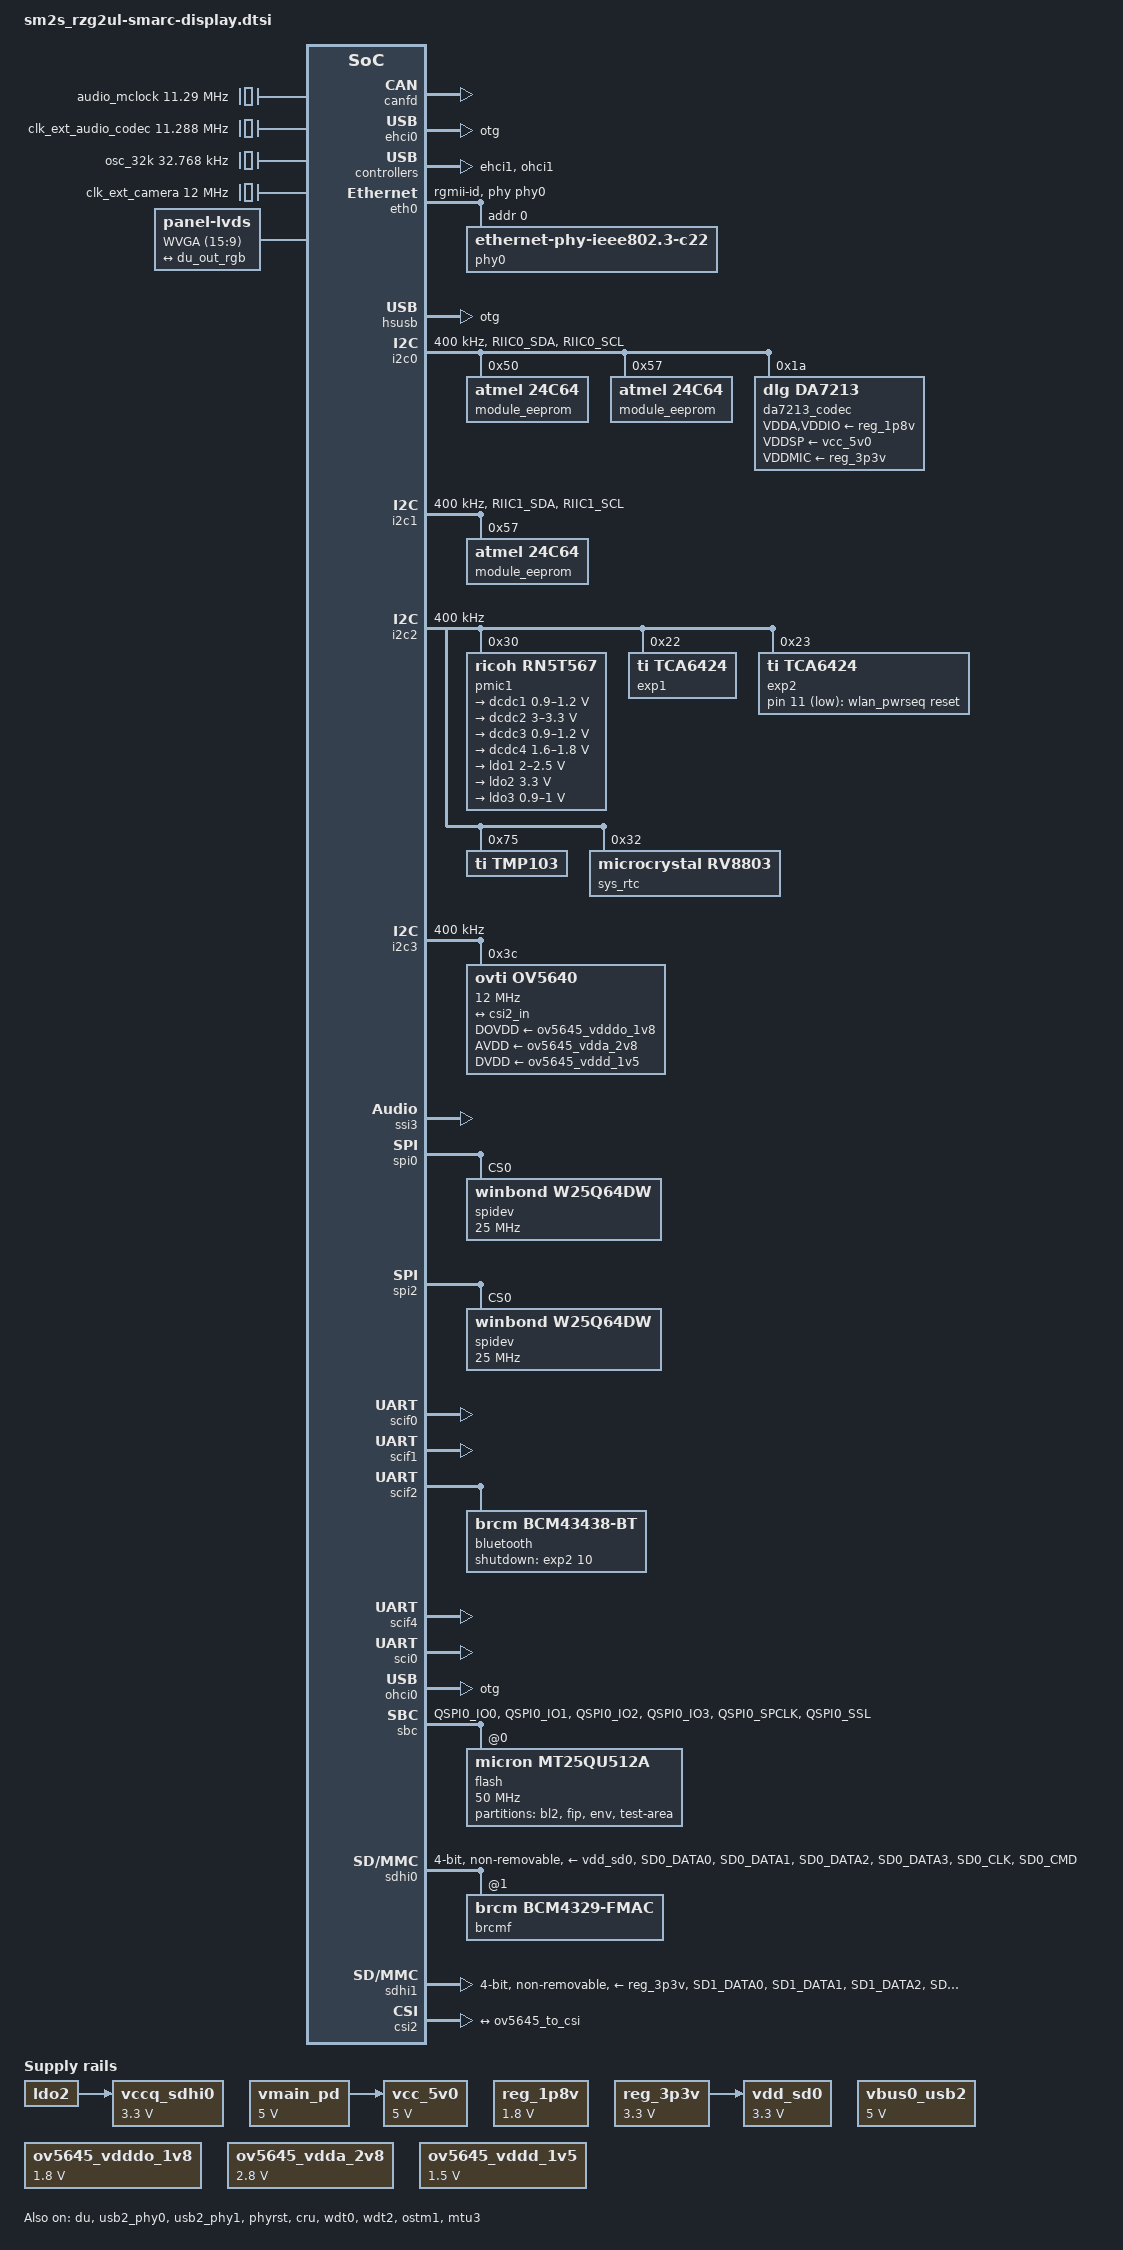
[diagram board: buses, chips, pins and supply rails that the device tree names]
// SPDX-License-Identifier: GPL-2.0
/*
 * Device Tree Source for the RZG2UL Evaluation Board Kit
 *
 * Copyright (C) 2022 Renesas Electronics Corp.
 */

#include <dt-bindings/pinctrl/rzg2l-pinctrl.h>
#include <dt-bindings/gpio/gpio.h>
#include <dt-bindings/net/ti-dp83867.h>

/*
 * If Display is enabled then SW_DISP_EN should be 1 otherwise 0.
 * Please change below MACROs corespondingly to SW1 setting
 */

#define	SW_DISP_EN	1
#define	WIFI_EN	1

/ {
	aliases {
		i2c0 = &i2c0;
		i2c1 = &i2c1;
		i2c2 = &i2c2;
		serial0 = &scif0;
		ethernet0 = &eth0;
	};

	chosen {
		bootargs = "ignore_loglevel";
		stdout-path = "serial0:115200n8";
	};

	audio_mclock: audio_mclock {
		compatible = "fixed-clock";
		#clock-cells = <0>;
		clock-frequency = <11289600>;
	};

        vmain_pd: regulator3 {
                compatible = "regulator-fixed";
                regulator-name = "vmain_pd";
                regulator-min-microvolt = <5000000>;
                regulator-max-microvolt = <5000000>;
                regulator-always-on;
                regulator-boot-on;
        };

        vcc_5v0: regulator2 {
                compatible = "regulator-fixed";
                regulator-name = "vcc_5v0";
                regulator-min-microvolt = <5000000>;
                regulator-max-microvolt = <5000000>;
                vin-supply = <&vmain_pd>;
                regulator-always-on;
                regulator-boot-on;
        };


	reg_1p8v: regulator0 {
		compatible = "regulator-fixed";

		regulator-name = "fixed-1.8V";
		regulator-min-microvolt = <1800000>;
		regulator-max-microvolt = <1800000>;
		regulator-boot-on;
		regulator-always-on;
	};

	reg_3p3v: regulator1 {
		compatible = "regulator-fixed";

		regulator-name = "fixed-3.3V";
		regulator-min-microvolt = <3300000>;
		regulator-max-microvolt = <3300000>;
		regulator-boot-on;
		regulator-always-on;
	};

	vbus0_usb2: regulator-vbus0-usb2 {
		compatible = "regulator-fixed";

		regulator-name = "USB20_VBUS0";
		regulator-min-microvolt = <5000000>;
		regulator-max-microvolt = <5000000>;
	};

	snd_rzg2l: sound {
		compatible = "simple-audio-card";
                simple-audio-card,name = "sm2s-rzg2ul-card1";
		simple-audio-card,format = "i2s";
		simple-audio-card,bitclock-master = <&cpu_dai>;
		simple-audio-card,frame-master = <&cpu_dai>;
		simple-audio-card,mclk-fs = <256>;

                simple-audio-card,widgets =
                        "Headphone",    "Headphone Jack",
                        "Line", "Line In",
                        "Microphone",   "Microphone Jack";

                simple-audio-card,audio-routing = "Mic1", "Mic Bias 1",
                                                  "MIC1", "Mic 1",
                                                  "Headphone Jack", "HPL",
                                                  "Headphone Jack", "HPR",
                                                  "Speaker", "LINE",
                                                  "Ext Spk", "Line In",
                                                  "Line", "Mic Bias";

		cpu_dai: simple-audio-card,cpu {
			sound-dai = <&ssi3>;
		};

		codec_dai: simple-audio-card,codec {
			sound-dai = <&da7213_codec>;
		};
	};

        x1_clk: x1-clock {
                compatible = "fixed-clock";
                #clock-cells = <0>;
                clock-frequency = <24000000>;
        };


        clk_ext_audio_codec: clock-codec {
                compatible = "fixed-clock";
                #clock-cells = <0>;
                clock-frequency = <11288000>;
        };


        vdd_sd0: regulator-1 {
                compatible = "regulator-fixed";
                regulator-name = "vdd_sd0";
                regulator-min-microvolt = <3300000>;
                regulator-max-microvolt = <3300000>;
                regulator-boot-on;
		regulator-always-on;
                vin-supply = <&reg_3p3v>;
        };

#if WIFI_EN
/*
	bt_reset: bt-reset {
		compatible = "gpio-reset";
		reset-gpios = <&exp2 10 GPIO_ACTIVE_LOW>;  /* BT_EN_DEV */
/*		reset-delay-us = <1000>;
		#reset-cells = <0>;
	};
*/

	wlan_pwrseq: wlan_pwrseq {
		compatible = "mmc-pwrseq-simple";
		reset-gpios = <&exp2 11 GPIO_ACTIVE_LOW>;  /* WIFI_EN_DEV */
		clocks = <&osc_32k>;
                clock-names = "ext_clock";
		post-power-on-delay-ms = <80>;
	};

	vccq_sdhi0: regulator-vccq-sdhi0 {
		compatible = "regulator-fixed";
		regulator-name = "SDHI0 VccQ";
		regulator-min-microvolt = <3300000>;
		regulator-max-microvolt = <3300000>;
		vin-supply = <&ldo2>;
		regulator-always-on;
	};

	osc_32k: osc_32k {
                compatible = "fixed-clock";
                #clock-cells = <0>;
                clock-frequency = <32768>;
                clock-output-names = "osc_32k";
        };
#else
	/* For SD Card we use USH mode and use 1.8 V */
	vccq_sdhi0: regulator-vccq-sdhi0 {
		compatible = "regulator-fixed";
		regulator-name = "SDHI0 VccQ";
		regulator-min-microvolt = <1800000>;
		regulator-max-microvolt = <1800000>;
		vin-supply = <&ldo2>;
	};
#endif
	
	vring-ctl0@43000000 {
		compatible = "vring_uio";
		reg = <0x0 0x43000000 0x0 0x100000>;
		no-map;
	};

	vring-ctl1@43100000 {
		compatible = "vring_uio";
		reg = <0x0 0x43100000 0x0 0x100000>;
		no-map;
	};

	vring-shm0@43200000 {
		compatible = "shm_uio";
		reg = <0x0 0x43200000 0x0 0x300000>;
		no-map;
	};

	vring-shm1@43500000 {
		compatible = "shm_uio";
		reg = <0x0 0x43500000 0x0 0x300000>;
		no-map;
	};

	rsctbl@42f00000 {
		compatible = "shm_uio";
		reg = <0x0 0x42f00000 0x0 0x1000>;
		no-map;
	};

	mhu-shm@42f01000 {
		compatible = "shm_uio";
		reg = <0x0 0x42f01000 0x0 0x1000>;
		no-map;
	};

	mbox-uio@10400000 {
		compatible = "mbox_uio";
		reg = <0x0 0x10400000 0x0 0x1000>;
		interrupt-parent = <&gic>;
		interrupts = <GIC_SPI 75 IRQ_TYPE_LEVEL_HIGH>;
		status = "okay";
	};

	x1_clk: x1-clock {
		compatible = "fixed-clock";
		#clock-cells = <0>;
		clock-frequency = <24000000>;
	};

	clk_ext_camera: clk_ext_camera {
		compatible = "fixed-clock";
		#clock-cells = <0>;
		clock-frequency = <12000000>;
	};

	ov5645_vdddo_1v8: 1p8v {
		compatible = "regulator-fixed";
		regulator-name = "camera_vdddo";
		regulator-min-microvolt = <1800000>;
		regulator-max-microvolt = <1800000>;
		regulator-always-on;
	};

	ov5645_vdda_2v8: 2p8v {
		compatible = "regulator-fixed";
		regulator-name = "camera_vdda";
		regulator-min-microvolt = <2800000>;
		regulator-max-microvolt = <2800000>;
		regulator-always-on;
	};

	ov5645_vddd_1v5: 1p5v {
		compatible = "regulator-fixed";
		regulator-name = "camera_vddd";
		regulator-min-microvolt = <1500000>;
		regulator-max-microvolt = <1500000>;
		regulator-always-on;
	};
/*
        gpio-test-en-hog {
                gpio-hog;
                gpios = <&exp1 16 GPIO_ACTIVE_HIGH>;
                output-low;
                line-name = "gpio_test_en";
        };

	gpio-eth0-pwr-en-hog {
                gpio-hog;
                gpios = <&exp2 3 GPIO_ACTIVE_HIGH>;
                output-high;
                line-name = "gpio_eth0_pwr_en";
        };

	wifi-en-hog {
		gpio-hog;
		gpios = <&exp2 11 GPIO_ACTIVE_HIGH>;
		output-low;
		line-name = "wifi_en";
	};

	bt-en-hog {
		gpio-hog;
		gpios = <&exp2 10 GPIO_ACTIVE_HIGH>;
                output-low;
                line-name = "bt_en";
        };
*/

	panel {
                compatible = "panel-lvds";
                width-mm = <154>;
                height-mm = <93>;
                label = "WVGA (15:9)";
		data-mapping = "jeida-24";
                status = "okay";

                panel-timing {
                        clock-frequency = <75000000>;
                        hactive = <800>;
                        vactive = <480>;
                        hback-porch = <30>;
                        hfront-porch = <30>;
                        vback-porch = <4>;
                        vfront-porch = <4>;
                        hsync-len = <4>;
                        vsync-len = <4>;
                };

                port {
                        lcd_in0: endpoint {
                                remote-endpoint = <&du_out_rgb>;
                        };
                };
        };
};

&audio_clk1{
	clock-frequency = <11289600>;
};

&audio_clk2{
	clock-frequency = <12288000>;
};

&canfd {
	pinctrl-0 = <&canfd0_pins>;
	pinctrl-names = "default";
	status = "okay";
	channel0 {
		status = "okay";
	};
};

#if (SW_DISP_EN)

&du {
	pinctrl-0 = <&du_pins>;
	pinctrl-names = "default";
	status = "okay";

	ports {
		port@0 {
	                reg = <0>;
			du_out_rgb: endpoint {
	                        remote-endpoint = <&lcd_in0>;
			};
		};

	};
};

#else
	&ssi0 {
		pinctrl-0 = <&ssi0_pins>;
		pinctrl-names = "default";
		status = "okay";
	};
	
	&canfd {
		pinctrl-0 = <&canfd1_pins>;
		pinctrl-names = "default";
		status = "okay";
		channel1 {
			status = "okay";
		};
	};
#endif

&ehci0 {
	dr_mode = "otg";
	status = "okay";
};

&ehci1 {
	status = "okay";
};

&eth0 {
	pinctrl-0 = <&eth0_pins>;
	pinctrl-names = "default";
	phy-handle = <&phy0>;
	phy-mode = "rgmii-id";
	status = "okay";

	phy0: ethernet-phy@0 {
		compatible = "ethernet-phy-ieee802.3-c22";
		reg = <0>;
                ti,rx-internal-delay = <DP83867_RGMIIDCTL_2_00_NS>;
                ti,tx-internal-delay = <DP83867_RGMIIDCTL_2_00_NS>;
                ti,fifo-depth = <DP83867_PHYCR_FIFO_DEPTH_4_B_NIB>;
		ti,min-output-impedance;
	};
};


&hsusb {
	dr_mode = "otg";
	status = "okay";
};

&i2c0 {
	pinctrl-0 = <&i2c0_pins>;
	pinctrl-names = "default";
        clock-frequency = <400000>;
	status = "okay";

       module_eeprom@50 {
                compatible = "atmel,24c64";
                reg = <0x50>;
                pagesize = <32>;
        };

        module_eeprom@57 {
                compatible = "atmel,24c64";
                reg = <0x57>;
                pagesize = <32>;
        };

        da7213_codec: da7212@1a {
                #sound-dai-cells = <0>;
                compatible = "dlg,da7213";
                reg = <0x1a>;

                dlg,micbias1-lvl = <3000>;
                dlg,micbias2-lvl = <3000>;

                VDDA-supply = <&reg_1p8v>;
                VDDSP-supply = <&vcc_5v0>;
                VDDIO-supply = <&reg_1p8v>;
                VDDMIC-supply= <&reg_3p3v>;
                clocks = <&clk_ext_audio_codec>;
                clock-names = "mclk";
        };
};

&i2c1 {
	pinctrl-0 = <&i2c1_pins>;
	pinctrl-names = "default";
        clock-frequency = <400000>;

	status = "okay";

       module_eeprom@57 {
                compatible = "atmel,24c64";
                reg = <0x57>;
                pagesize = <32>;
       };
};

&i2c2 {
        #address-cells = <1>;
        #size-cells = <0>;
        pinctrl-names = "default";
        pinctrl-0 = <&i2c2_pins>;
        clock-frequency = <400000>;
        status="okay";


        pmic1: pmic@30 {
                compatible = "ricoh,rn5t567";
                reg = <0x30>;
                pmic-id = <0>;
                sleep-sequence = /bits/ 8 <
                                0x16    0x2b
                                0x17    0x49
                                0x1b    0x2b
                                0x1c    0x67
                                0x1f    0x0b
                                0x32    0x03
                                0x30    0x03
                        >;
                

                regulators {
                        dcdc1:DCDC1 {
                                regulator-name = "VCC_DRAM_VPU_0V9";
                                regulator-always-on;
                                regulator-min-microvolt = <900000>;
                                regulator-max-microvolt = <1200000>;
                        };
                        dcdc2:DCDC2 {
                                regulator-name = "VCC_ARM_0V9";
                                regulator-always-on;
                                regulator-min-microvolt = <3000000>;
                                regulator-max-microvolt = <3300000>;
                        };

                        dcdc3:DCDC3 {
                                regulator-name = "VCC_DDR_1V2";
                                regulator-always-on;
                                regulator-min-microvolt = <900000>;
                                regulator-max-microvolt = <1200000>;
                        };

                        dcdc4:DCDC4 {
                                regulator-name = "VCC_SYS_1V8";
                                regulator-always-on;
                                regulator-min-microvolt = <1600000>;
                                regulator-max-microvolt = <1800000>;
                        };

                        ldo1:LDO1 {
                                regulator-name = "VCC_PHY_2V5";
                                regulator-always-on;
                                regulator-min-microvolt = <2000000>;
                                regulator-max-microvolt = <2500000>;
                        };

#if WIFI_EN
                        ldo2:LDO2 {
                                regulator-name = "VCC_LDO2_3V3";
                                regulator-always-on;
                                regulator-min-microvolt = <3300000>;
                                regulator-max-microvolt = <3300000>;
                        };
#else
			/* For SD Card we use USH mode and use 1.8 V */
                        ldo2:LDO2 {
                                regulator-name = "VCC_LDO2_1V8";
                                regulator-always-on;
                                regulator-min-microvolt = <1800000>;
                                regulator-max-microvolt = <1800000>;
                        };
#endif
			ldo3:LDO3 {
                                regulator-name = "VCC_LDO3_1V0";
                                regulator-always-on;
                                regulator-min-microvolt = <900000>;
                                regulator-max-microvolt = <1000000>;
                        };

		};
	};

        exp1: gpio@22 {
                compatible = "ti,tca6424";
                reg = <0x22>;
                gpio-controller;
                #gpio-cells = <2>;
        };

        exp2: gpio@23 {
                compatible = "ti,tca6424";
                reg = <0x23>;
                gpio-controller;
                #gpio-cells = <2>;
        };

        tmp103: tmp103@75 {
                compatible = "ti,tmp103";
                reg = <0x75>;
        };

        sys_rtc: rtc@32 {
                compatible = "microcrystal,rv8803";
                reg = <0x32>;
        };

};

&i2c3 {
	clock-frequency = <400000>;
	pinctrl-0 = <&i2c3_pins>;
	pinctrl-names = "default";
	status = "okay";

	ov5640: ov5640@3c {
		compatible = "ovti,ov5640";
		reg = <0x3c>;
		clock-names = "xclk";
		clocks = <&clk_ext_camera>;
		clock-frequency = <12000000>;
		DOVDD-supply = <&ov5645_vdddo_1v8>;
		AVDD-supply = <&ov5645_vdda_2v8>;
		DVDD-supply = <&ov5645_vddd_1v5>;

		port {
			ov5645_to_csi: endpoint {
		       		clock-lanes = <0>;
		       		data-lanes = <1 2>;
		       		remote-endpoint = <&csi2_in>;
                 		bus-width = <8>;
		                hsync-active = <0>;
                		vsync-active = <1>;
		                pclk-sample = <0>;
	       		};
		};
	};
};

&ssi3 {
	    pinctrl-0 = <&ssi3_pins>;
	    pinctrl-names = "default";
	    status = "okay";
};

&usb2_phy0 {
	pinctrl-0 = <&usb0_pins>;
	pinctrl-names = "default";
	
	//Enable VBUS for USB0
	gpio = <&exp2 13 GPIO_ACTIVE_HIGH>;	
	
	vbus-supply = <&vbus0_usb2>;
	status = "okay";
};

&usb2_phy1 {
	/*pinctrl-0 = <&usb1_pins>;
	pinctrl-names = "default";*/

	status = "okay";
};


&spi0 {
	pinctrl-0 = <&spi0_pins>;
	pinctrl-names = "default";
	status = "okay";

	spidev@0x00 {
		compatible="winbond,w25q64dw","jedec,spi-nor";
		spi-max-frequency = <25000000>;
		reg = <0>;
	};
};


&spi2 {
        pinctrl-0 = <&spi2_pins>;
        pinctrl-names = "default";
        status = "okay";

        spidev@0x00 {
                compatible="winbond,w25q64dw","jedec,spi-nor";
                spi-max-frequency = <25000000>;
                reg = <0>;
        };


};

&scif0 {
	pinctrl-0 = <&scif0_pins>;
	pinctrl-names = "default";
	status = "okay";
};
	

&scif1 {
    pinctrl-0 = <&scif1_pins>;
    pinctrl-names = "default";
    uart-has-rtscts;
    status = "okay";
};

/* BT_UART */
&scif2 {
    pinctrl-0 = <&scif2_pins>;
    pinctrl-names = "default";
    uart-has-rtscts;
    /* resets = <&bt_reset>;*/
    status = "okay";

    bluetooth {
        compatible = "brcm,bcm43438-bt";
        shutdown-gpios = <&exp2 10 GPIO_ACTIVE_HIGH>;
        clocks = <&osc_32k>;
        clock-names = "extclk";
        max-speed = <2000000>;
    };

};


&scif4 {
    pinctrl-0 = <&scif4_pins>;
    pinctrl-names = "default";
    status = "okay";
};

//Comments:sci0 : M3 and M6 pins are used but Name is not verified with r9...It is serial.

&sci0 {
    pinctrl-0 = <&sci0_pins>;
    pinctrl-names = "default";
    status = "okay";
};
	
&phyrst {
	status = "okay";
};

&ohci0 {
	dr_mode = "otg";
	status = "okay";
};

&ohci1 {
	status = "okay";
};

&pinctrl {
	pinctrl-0 = <&sound_clk_pins>;
	pinctrl-names = "default";


	i2c2_pins: i2c2 {
               pinmux = <RZG2L_PORT_PINMUX(0, 3, 4)>, /* RIIC2_SCL */
                         <RZG2L_PORT_PINMUX(0, 2, 4)>; /*RIIC2_SDA*/
	};
	
	i2c3_pins: i2c3 {
               pinmux = <RZG2L_PORT_PINMUX(0, 1, 3)>, /* RIIC3_SCL */
                         <RZG2L_PORT_PINMUX(0, 0, 3)>; /*RIIC3_SDA*/
	};

	canfd0_pins: can0 {
		pinmux = <RZG2L_PORT_PINMUX(6, 1, 3)>, /* TX */
			 <RZG2L_PORT_PINMUX(6, 2, 3)>; /* RX */
	};

	eth0_pins: eth0 {
		pinmux = 
			 <RZG2L_PORT_PINMUX(4, 3, 1)>, /* ET0_MDC */
			 <RZG2L_PORT_PINMUX(4, 4, 1)>, /* ET0_MDIO */
			 <RZG2L_PORT_PINMUX(1, 0, 1)>, /* ET0_TXC */
			 <RZG2L_PORT_PINMUX(1, 1, 1)>, /* ET0_TX_CTL */
			 <RZG2L_PORT_PINMUX(1, 2, 1)>, /* ET0_TXD0 */
			 <RZG2L_PORT_PINMUX(1, 3, 1)>, /* ET0_TXD1 */
			 <RZG2L_PORT_PINMUX(1, 4, 1)>, /* ET0_TXD2 */
			 <RZG2L_PORT_PINMUX(2, 0, 1)>, /* ET0_TXD3 */
			 <RZG2L_PORT_PINMUX(3, 0, 1)>, /* ET0_RXC */
			 <RZG2L_PORT_PINMUX(3, 1, 1)>, /* ET0_RX_CTL */
			 <RZG2L_PORT_PINMUX(3, 2, 1)>, /* ET0_RXD0 */
			 <RZG2L_PORT_PINMUX(3, 3, 1)>, /* ET0_RXD1 */
			 <RZG2L_PORT_PINMUX(4, 0, 1)>, /* ET0_RXD2 */
			 <RZG2L_PORT_PINMUX(4, 1, 1)>; /* ET0_RXD3 */
	};

	i2c0_pins: i2c0 {
		pins = "RIIC0_SDA", "RIIC0_SCL";
		input-enable;
	};

	i2c1_pins: i2c1 {
		pins = "RIIC1_SDA", "RIIC1_SCL";
		input-enable;
	};


/*
#if WIFI_EN
//For WiFi
	sdhi0_pins: sd0 {
		sd0_data {
			pins =  "SD0_DATA0", "SD0_DATA1", "SD0_DATA2",
				"SD0_DATA3";
			power-source  = <3300>;
		};

		sd0_ctrl {
			pins = "SD0_CLK", "SD0_CMD";
			power-source = <3300>;
		};
	};
#else

//For SD Card
	sdhi0_pins: sd0 {
		sd0_data {
			pins =  "SD0_DATA0", "SD0_DATA1", "SD0_DATA2",
				"SD0_DATA3";
			power-source  = <1800>;
		};

		sd0_ctrl {
			pins = "SD0_CLK", "SD0_CMD";
			power-source = <1800>;
		};
	};
#endif
*/
	/* Support pinctrl for uSD / Wifi */
	sdhi0_pins: sd0 {
		sd0_data {
			pins =  "SD0_DATA0", "SD0_DATA1", "SD0_DATA2",
				"SD0_DATA3";
			power-source  = <3300>;
		};

		sd0_ctrl {
			pins = "SD0_CLK", "SD0_CMD";
			power-source = <3300>;
		};
	};

	/* Support pinctrl for UHS uSD */
	sdhi0_pins_uhs: sd0_uhs {
		sd0_data_uhs {
			pins =	"SD0_DATA0", "SD0_DATA1", "SD0_DATA2",
				"SD0_DATA3";
			power-source  = <1800>;
		};

		sd0_ctrl_uhs {
			pins = "SD0_CLK", "SD0_CMD";
			power-source  = <1800>;
		};
	};

	
// For MMC
	sdhi1_pins: sd1 {
		sd1_data {
			pins =	"SD1_DATA0", "SD1_DATA1",
				"SD1_DATA2", "SD1_DATA3";
			power-source  = <1800>;
		};

		sd1_ctrl {
			pins = "SD1_CLK", "SD1_CMD";
			power-source  = <1800>;
		};
	};
	
	
#if (SW_DISP_EN)

	du_pins: du {
		data {

			pinmux = <RZG2L_PORT_PINMUX(13, 0, 6)>,
				 <RZG2L_PORT_PINMUX(13, 4, 6)>,
				 <RZG2L_PORT_PINMUX(13, 3, 6)>,
				 <RZG2L_PORT_PINMUX(12, 1, 6)>,
				 <RZG2L_PORT_PINMUX(13, 2, 6)>,
				 <RZG2L_PORT_PINMUX(14, 0, 6)>,
				 <RZG2L_PORT_PINMUX(16, 0, 6)>,
				 <RZG2L_PORT_PINMUX(15, 0, 6)>,
				 <RZG2L_PORT_PINMUX(16, 1, 6)>,
				 <RZG2L_PORT_PINMUX(15, 1, 6)>,
				 <RZG2L_PORT_PINMUX(15, 3, 6)>,
				 <RZG2L_PORT_PINMUX(18, 0, 6)>,
				 <RZG2L_PORT_PINMUX(17, 2, 6)>,
				 <RZG2L_PORT_PINMUX(17, 1, 6)>,
				 <RZG2L_PORT_PINMUX(18, 1, 6)>,
				 <RZG2L_PORT_PINMUX(18, 2, 6)>,
				 <RZG2L_PORT_PINMUX(17, 3, 6)>,
				 <RZG2L_PORT_PINMUX(18, 3, 6)>;
			 drive-strength = <2>;
		};

		sync {
			pinmux = <RZG2L_PORT_PINMUX(11, 0, 6)>, /* HSYNC */
				 <RZG2L_PORT_PINMUX(12, 0, 6)>; /* VSYNC */
	                  	 drive-strength = <2>;
		};

		de {
			pinmux = <RZG2L_PORT_PINMUX(11, 1, 6)>; /* DE */
				 drive-strength = <2>;
		};
		
		clk {
			pinmux = <RZG2L_PORT_PINMUX(11, 3, 6)>; /* CLK */
		};
	};
#else
	ssi0_pins: ssi0 {
		pinmux = <RZG2L_PORT_PINMUX(11, 0, 1)>, /* SSI0_BCK */
			 <RZG2L_PORT_PINMUX(11, 1, 1)>, /* SSI0_RCK */
			 <RZG2L_PORT_PINMUX(11, 2, 1)>, /* SSI0_TXD */
			 <RZG2L_PORT_PINMUX(11, 3, 1)>; /*SSI0_RXD*/

	};
	
	canfd1_pins: can1 {
		pinmux = <RZG2L_PORT_PINMUX(14, 0, 3)>, 
			 <RZG2L_PORT_PINMUX(14, 1, 3)>; 
	};

#endif
	
	ssi3_pins: ssi3 {
		       pinmux = <RZG2L_PORT_PINMUX(10, 1, 3)>, /* SSI3_BCK */
		                 <RZG2L_PORT_PINMUX(10, 2, 3)>, /*SSI3_RCK*/
		                 <RZG2L_PORT_PINMUX(10, 3, 3)>, /*SSI3_TXD*/
		                 <RZG2L_PORT_PINMUX(10, 4, 3)>; /*SSI3_RXD*/
	};


	sound_clk_pins: sound_clk {
		pins = "AUDIO_CLK1", "AUDIO_CLK2";
		input-enable;
	};


	usb0_pins: usb0 {
		pinmux = /*<RZG2L_PORT_PINMUX(5, 0, 1)>,
			 <RZG2L_PORT_PINMUX(5, 2, 1)>,
			 <RZG2L_PORT_PINMUX(5, 3, 1)>;*/ /* OTG_ID */
			 <RZG2L_PORT_PINMUX(5, 2, 1)>; /* OVC */
	};

	usb1_pins: usb1 {
		pinmux = <RZG2L_PORT_PINMUX(6, 0, 1)>;
	};



	spi0_pins: rspi0 {
		       pinmux = <RZG2L_PORT_PINMUX(9, 0, 2)>, /* RSPI0_CK */
		                 <RZG2L_PORT_PINMUX(9, 1, 2)>, /*RSPI0_MOSI*/
		                 <RZG2L_PORT_PINMUX(9, 2, 2)>, /*RSPI0_MISO*/
		                 <RZG2L_PORT_PINMUX(9, 3, 2)>; /*RSPI0_SSL*/
	};


	spi2_pins: rspi2 {
		       pinmux = <RZG2L_PORT_PINMUX(7, 0, 3)>, /* RSPI2_CK */
		                 <RZG2L_PORT_PINMUX(7, 1, 3)>, /*RSPI2_MOSI*/
		                 <RZG2L_PORT_PINMUX(7, 2, 3)>, /*RSPI2_MISO*/
		                 <RZG2L_PORT_PINMUX(7, 3, 3)>; /*RSPI2_SSL*/
	};

	qspi0_pins: qspi0 {
		qspi0-data {
			pins = "QSPI0_IO0", "QSPI0_IO1", "QSPI0_IO2", "QSPI0_IO3";
			power-source = <3300>;
		};

		qspi0-ctrl {
			pins = "QSPI0_SPCLK", "QSPI0_SSL";
			power-source = <3300>;
		};
	};
	
	scif0_pins: scif0 {
			pinmux = <RZG2L_PORT_PINMUX(6, 4, 6)>, /* TxD */
				 <RZG2L_PORT_PINMUX(6, 3, 6)>; /* RxD */
	};


	scif1_pins: scif1 {
		       pinmux = <RZG2L_PORT_PINMUX(8, 0, 3)>, /* SCIF1_RXD */
		                 <RZG2L_PORT_PINMUX(8, 1, 3)>,/*SCIF1_TXD*/
		                 <RZG2L_PORT_PINMUX(8, 2, 3)>, /*SCIF1_CTS*/
		                 <RZG2L_PORT_PINMUX(8, 3, 3)>; /*SCIF1_RTS*/
	};



	scif2_pins: scif2 {
		       pinmux = <RZG2L_PORT_PINMUX(5, 0, 2)>, /* SCIF2_TXD */
		                 <RZG2L_PORT_PINMUX(5, 1, 2)>, /*SCIF2_RXD*/
		                 <RZG2L_PORT_PINMUX(5, 3, 2)>, /*SCIF2_CTS*/
		                 <RZG2L_PORT_PINMUX(5, 4, 2)>; /*SCIF2_RTS*/
	};


	scif4_pins: scif4 {
		       pinmux = <RZG2L_PORT_PINMUX(18, 4, 7)>, /* SCIF4_RXD */
		                 <RZG2L_PORT_PINMUX(18, 5, 7)>; /*SCIF4_TXD*/
	};
	
	sci0_pins: sci0 {
               pinmux =  <RZG2L_PORT_PINMUX(2, 2, 5)>, /*SCI0_TXD*/
                         <RZG2L_PORT_PINMUX(2, 3, 5)>; /* SCI0_RXD*/ 
	};

	mtu7_pins:mtu7 {
	               pinmux =  <RZG2L_PORT_PINMUX(6, 0, 5)>;
	};

};


&sbc {
	pinctrl-0 = <&qspi0_pins>;
	pinctrl-names = "default";

	status = "okay";

	flash@0 {
		compatible = "micron,mt25qu512a", "jedec,spi-nor";
		reg = <0>;
		m25p,fast-read;
		spi-max-frequency = <50000000>;
		spi-tx-bus-width = <1>;
		spi-rx-bus-width = <4>;

		partitions {
			compatible = "fixed-partitions";
			#address-cells = <1>;
			#size-cells = <1>;

			partition@000000 {
				label = "bl2";
				reg = <0x00000000 0x0001D200>;
				read-only;
			};
			partition@01D200 {
				label = "fip";
				reg = <0x0001D200 0x001C2E00>;
				read-only;
			};
			partition@1E0000 {
				label = "env";
				reg = <0x001E0000 0x00020000>;
				read-only;
			};
			partition@200000 {
				label = "test-area";
				reg = <0x00200000 0x00E00000>;
			};
		};
	};
};


#if WIFI_EN
//WiFi
&sdhi0 {
	#address-cells = <1>;
	#size-cells = <0>;
	pinctrl-0 = <&sdhi0_pins>;
	pinctrl-names = "default";
	vmmc-supply = <&vdd_sd0>;
	vqmmc-supply = <&vccq_sdhi0>;
	bus-width = <4>;
	no-1-8-v;	/* force 3.3V VIO */
	non-removable;
	disable-wp;
	mmc-pwrseq = <&wlan_pwrseq>;
	pm-ignore-notify;
	cap-power-off-card;
	/* WiFi firmware requires power to be kept while in suspend */
        keep-power-in-suspend;

	status = "okay";

	brcmf: bcrmf@1 {
		reg = <1>;
		compatible = "brcm,bcm4329-fmac";
	};
};
#else
//SD Card
&sdhi0 {
	pinctrl-0 = <&sdhi0_pins>;
	pinctrl-1 = <&sdhi0_pins_uhs>;
	pinctrl-names = "default", "state_uhs";
	
	vmmc-supply = <&vdd_sd0>;
	vqmmc-supply = <&vccq_sdhi0>;
	bus-width = <4>;
	sd-uhs-sdr50;
	sd-uhs-sdr104;
	status = "okay";
	disable-wp;
};
#endif

//eMMC
&sdhi1 {
        pinctrl-0 = <&sdhi1_pins>;
        pinctrl-1 = <&sdhi1_pins>;
        pinctrl-names = "default", "state_uhs";

        vmmc-supply = <&reg_3p3v>;
        vqmmc-supply = <&reg_1p8v>;
        bus-width = <4>;
        mmc-hs200-1_8v;
        non-removable;
        fixed-emmc-driver-type = <1>;
        status = "okay";
};

&extal_clk {
	clock-frequency = <24000000>;
};

&cru {
	status = "okay";
};

&csi2 {
	status = "okay";

	ports {
		port {
			csi2_in: endpoint {
				clock-lanes = <0>;
				data-lanes = <1 2>;
				remote-endpoint = <&ov5645_to_csi>;
			};
		};
	};
};

&wdt0 {
	status = "okay";
	timeout-sec = <60>;
};

&wdt2 {
	status = "okay";
	timeout-sec = <60>;
};

&ostm1 {
	status = "okay";
};

&ostm2 {
	status = "disabled";
};

&mtu3 {
	pinctrl-0 = <&mtu7_pins>;
	pinctrl-names = "default";
	pwm_mode1 = <7 0>;
	pwm_complementary = <7 0>;
        #pwm-cells = <2>;
        clocks = <&cpg CPG_MOD R9A07G043_MTU_X_MCK_MTU3>;
        clock-names = "fck";
	/*pwm-params = <MTU_PWM_NORMAL 0 50>;*/
	status = "okay";
};

